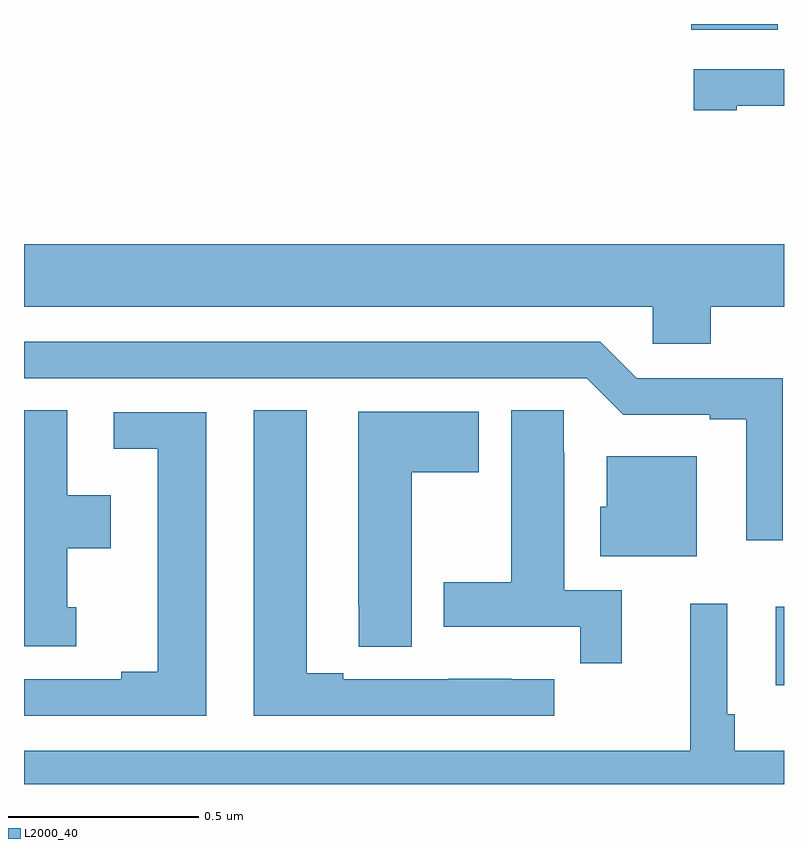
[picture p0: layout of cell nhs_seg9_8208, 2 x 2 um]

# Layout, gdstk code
import gdstk
lib = gdstk.Library(unit=1e-6, precision=1e-09)
def R(c, l, rs):  # rectangles x0, y0, x1, y1
    for r in rs: c.add(gdstk.rectangle(r[:2], r[2:], *l))
def P(c, l, *ps):  # polygons
    for p in ps: c.add(gdstk.Polygon(p, *l))
L2000_40 = (2000, 40)

nhs_seg9_8208 = lib.new_cell('nhs_seg9_8208')
R(nhs_seg9_8208, L2000_40, [(215.978,1192.76,216,1192.966), (215.756,1194.485,215.983,1194.5)])
P(nhs_seg9_8208, L2000_40, [(215.875,1194.285),(216,1194.285),(216,1194.381),(215.763,1194.381),(215.763,1194.273),(215.875,1194.273)],
  [(215.807,1193.756),(216,1193.756),(216,1193.92),(214,1193.92),(214,1193.756),(215.655,1193.756),(215.655,1193.658),(215.807,1193.658)],
  [(215.997,1193.568),(215.613,1193.568),(215.517,1193.664),(214,1193.664),(214,1193.568),(215.481,1193.568),(215.577,1193.472),(215.804,1193.472),(215.804,1193.46),(215.9,1193.46),(215.9,1193.142),(215.997,1193.142)],
  [(215.573,1193.01),(215.422,1193.01),(215.422,1193.372),(215.421,1193.372),(215.421,1193.483),(215.282,1193.483),(215.282,1193.031),(215.105,1193.031),(215.105,1192.914),(215.464,1192.914),(215.464,1192.818),(215.573,1192.818)],
  [(214.138,1192.965),(214.114,1192.965),(214.114,1193.12),(214.228,1193.12),(214.228,1193.26),(214.114,1193.26),(214.114,1193.483),(214,1193.483),(214,1192.863),(214.138,1192.863)],
  [(215.395,1192.776),(215.282,1192.776),(215.282,1192.777),(215.116,1192.777),(215.116,1192.776),(214.84,1192.776),(214.84,1192.791),(214.744,1192.791),(214.744,1193.483),(214.604,1193.483),(214.604,1192.68),(215.395,1192.68)],
  [(215.02,1193.32),(215.197,1193.32),(215.197,1193.479),(214.88,1193.479),(214.88,1192.969),(214.881,1192.969),(214.881,1192.861),(215.02,1192.861)],
  [(214.48,1193.478),(214.236,1193.478),(214.236,1193.382),(214.352,1193.382),(214.352,1192.796),(214.256,1192.796),(214.256,1192.776),(214,1192.776),(214,1192.68),(214.48,1192.68)],
  [(215.77,1193.362),(215.534,1193.362),(215.534,1193.229),(215.516,1193.229),(215.516,1193.099),(215.77,1193.099)],
  [(216,1192.588),(215.87,1192.588),(215.87,1192.684),(215.85,1192.684),(215.85,1192.975),(215.753,1192.975),(215.753,1192.588),(214,1192.588),(214,1192.5),(216,1192.5)])

lib.write_gds('nhs_seg9_8208.gds')
